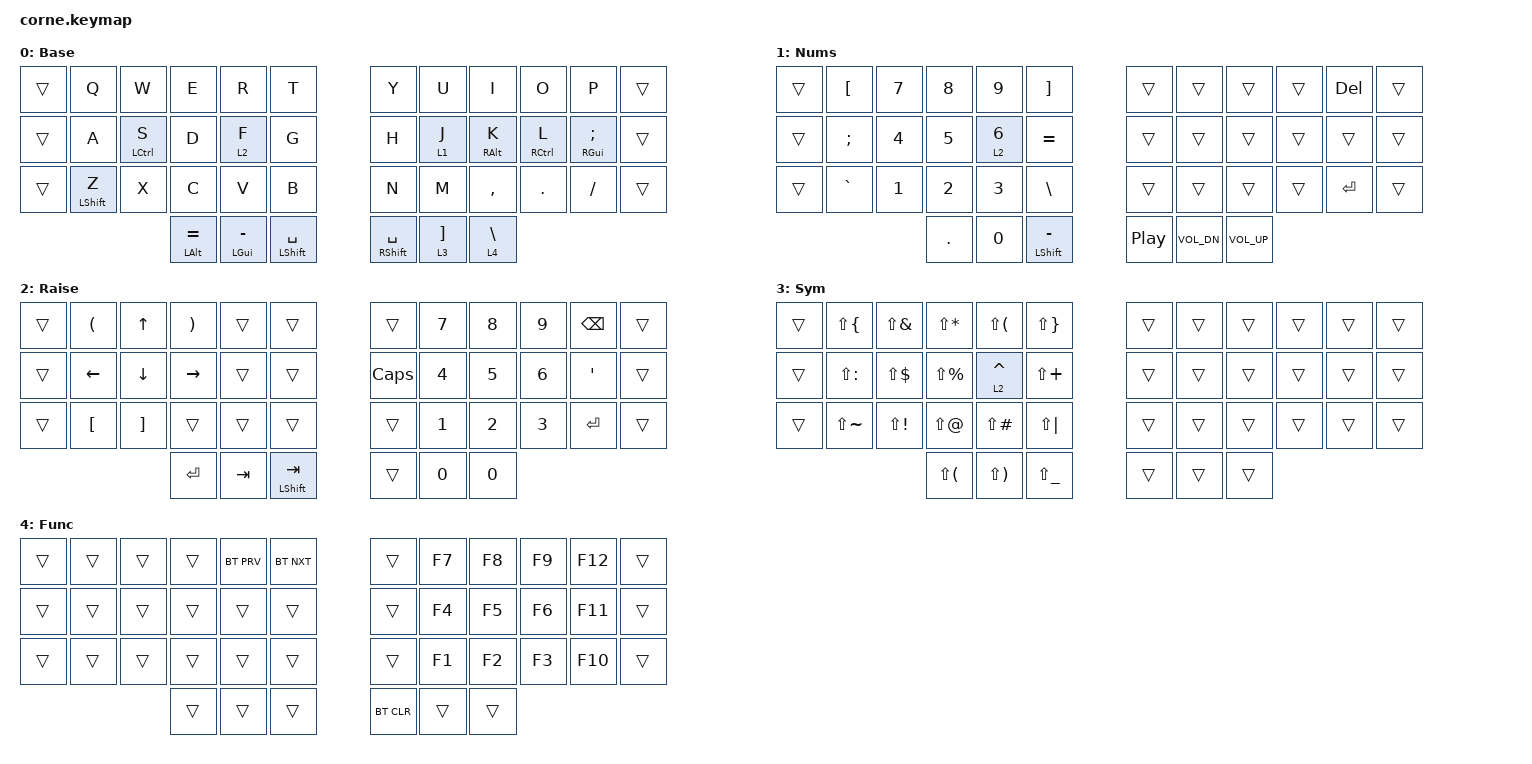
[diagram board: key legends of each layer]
/*
 * Copyright (c) 2020 The ZMK Contributors
 *
 * SPDX-License-Identifier: MIT
 */

#include <behaviors.dtsi>
#include <dt-bindings/zmk/bt.h>
#include <dt-bindings/zmk/keys.h>

&mt {
    tapping-term-ms = <300>;
    flavor = "balanced";
};

/ {
    combos {
        compatible = "zmk,combos";

        space_enter {
            bindings = <&kp ESC>;
            key-positions = <38 39>;
        };

        tab {
            bindings = <&kp LG(TAB)>;
            key-positions = <37 13>;
        };

        esc_corner {
            bindings = <&kp ESC>;
            key-positions = <36 37>;
        };

        ent_corner {
            bindings = <&kp ENTER>;
            key-positions = <40 41>;
        };

        enter_corner_2 {
            bindings = <&kp ENTER>;
            key-positions = <35 34>;
        };
    };

    keymap {
        compatible = "zmk,keymap";

        base {
            display-name = "Base";
            bindings = <
&trans  &kp Q             &kp W               &kp E               &kp R               &kp T                   &kp Y                  &kp U                &kp I            &kp O                &kp P               &trans
&trans  &kp A             &mt LEFT_CONTROL S  &kp D               &lt 2 F             &kp G                   &kp H                  &lt 1 J              &mt RIGHT_ALT K  &mt RIGHT_CONTROL L  &mt RIGHT_GUI SEMI  &trans
&trans  &mt LEFT_SHIFT Z  &kp X               &kp C               &kp V               &kp B                   &kp N                  &kp M                &kp COMMA        &kp DOT              &kp FSLH            &trans
                                              &mt LEFT_ALT EQUAL  &mt LEFT_GUI MINUS  &mt LEFT_SHIFT SPACE    &mt RIGHT_SHIFT SPACE  &lt 3 RIGHT_BRACKET  &lt 4 BACKSLASH
            >;
        };

        nums {
            display-name = "Nums";
            bindings = <
&trans  &kp LBKT   &kp N7  &kp N8   &kp N9    &kp RBKT            &trans            &trans        &trans        &trans  &kp DELETE  &trans
&trans  &kp SEMI   &kp N4  &kp N5   &lt 2 N6  &kp EQUAL           &trans            &trans        &trans        &trans  &trans      &trans
&trans  &kp GRAVE  &kp N1  &kp N2   &kp N3    &kp BSLH            &trans            &trans        &trans        &trans  &kp RET     &trans
                           &kp DOT  &kp N0    &mt LSHIFT MINUS    &kp C_PLAY_PAUSE  &kp C_VOL_DN  &kp C_VOL_UP
            >;
        };

        raise {
            display-name = "Raise";
            bindings = <
&trans  &kp LPAR          &kp UP             &kp RPAR   &trans   &trans                &trans    &kp N7  &kp N8  &kp N9  &kp BACKSPACE  &trans
&trans  &kp LEFT          &kp DOWN_ARROW     &kp RIGHT  &trans   &trans                &kp CAPS  &kp N4  &kp N5  &kp N6  &kp SQT        &trans
&trans  &kp LEFT_BRACKET  &kp RIGHT_BRACKET  &trans     &trans   &trans                &trans    &kp N1  &kp N2  &kp N3  &kp ENTER      &trans
                                             &kp RET    &kp TAB  &mt LEFT_SHIFT TAB    &trans    &kp N0  &kp N0
            >;
        };

        sym {
            display-name = "Sym";
            bindings = <
&trans  &kp LS(LBRC)   &kp LS(AMPS)  &kp LS(STAR)   &kp LS(LPAR)   &kp LS(RBRC)     &trans  &trans  &trans  &trans  &trans  &trans
&trans  &kp LS(COLON)  &kp LS(DLLR)  &kp LS(PRCNT)  &lt 2 CARET    &kp LS(PLUS)     &trans  &trans  &trans  &trans  &trans  &trans
&trans  &kp LS(TILDE)  &kp LS(EXCL)  &kp LS(AT)     &kp LS(POUND)  &kp LS(PIPE)     &trans  &trans  &trans  &trans  &trans  &trans
                                     &kp LS(LPAR)   &kp LS(RPAR)   &kp LS(UNDER)    &trans  &trans  &trans
            >;
        };

        func {
            display-name = "Func";
            bindings = <
&trans  &trans  &trans  &trans  &bt BT_PRV  &bt BT_NXT    &trans      &kp F7  &kp F8  &kp F9  &kp F12  &trans
&trans  &trans  &trans  &trans  &trans      &trans        &trans      &kp F4  &kp F5  &kp F6  &kp F11  &trans
&trans  &trans  &trans  &trans  &trans      &trans        &trans      &kp F1  &kp F2  &kp F3  &kp F10  &trans
                        &trans  &trans      &trans        &bt BT_CLR  &trans  &trans
            >;
        };
    };
};
